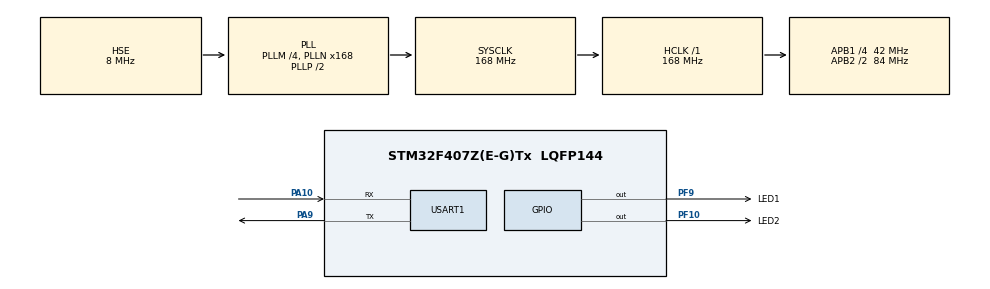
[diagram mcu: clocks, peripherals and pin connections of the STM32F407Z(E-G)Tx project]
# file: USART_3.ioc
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Mcu.Family=STM32F4
Mcu.Name=STM32F407Z(E-G)Tx
Mcu.Package=LQFP144
NVIC.PriorityGroup=NVIC_PRIORITYGROUP_4
NVIC.USART1_IRQn=true\:0\:0\:false\:false\:true\:true\:true\:true
PA10.Mode=Asynchronous
PA10.Signal=USART1_RX
PA13.Mode=Serial_Wire
PA13.Signal=SYS_JTMS-SWDIO
PA14.Mode=Serial_Wire
PA14.Signal=SYS_JTCK-SWCLK
PA9.Mode=Asynchronous
PA9.Signal=USART1_TX
PF10.GPIO_Label=LED2
PF10.PinState=GPIO_PIN_SET
PF10.Signal=GPIO_Output
PF9.GPIO_Label=LED1
PF9.PinState=GPIO_PIN_SET
PF9.Signal=GPIO_Output
PH0-OSC_IN.Mode=HSE-External-Oscillator
PH0-OSC_IN.Signal=RCC_OSC_IN
PH1-OSC_OUT.Mode=HSE-External-Oscillator
PH1-OSC_OUT.Signal=RCC_OSC_OUT
ProjectManager.HeapSize=0x200
ProjectManager.StackSize=0x400
ProjectManager.TargetToolchain=MDK-ARM V5.32
RCC.48MHZClocksFreq_Value=84000000
RCC.AHBFreq_Value=168000000
RCC.APB1CLKDivider=RCC_HCLK_DIV4
RCC.APB1Freq_Value=42000000
RCC.APB1TimFreq_Value=84000000
RCC.APB2CLKDivider=RCC_HCLK_DIV2
RCC.APB2Freq_Value=84000000
RCC.APB2TimFreq_Value=168000000
RCC.CortexFreq_Value=168000000
RCC.HCLKFreq_Value=168000000
RCC.HSE_VALUE=8000000
RCC.HSI_VALUE=16000000
RCC.LSE_VALUE=32768
RCC.PLLM=4
RCC.PLLN=168
RCC.PLLSourceVirtual=RCC_PLLSOURCE_HSE
RCC.SYSCLKFreq_VALUE=168000000
RCC.SYSCLKSource=RCC_SYSCLKSOURCE_PLLCLK
RCC.VCOOutputFreq_Value=336000000
USART1.VirtualMode=VM_ASYNC
board=custom

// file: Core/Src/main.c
/* USER CODE BEGIN Header */
/**
  ******************************************************************************
  * @file           : main.c
  * @brief          : Main program body
  ******************************************************************************
  * @attention
  *
  * Copyright (c) 2026 STMicroelectronics.
  * All rights reserved.
  *
  * This software is licensed under terms that can be found in the LICENSE file
  * in the root directory of this software component.
  * If no LICENSE file comes with this software, it is provided AS-IS.
  *
  ******************************************************************************
  */
/* USER CODE END Header */
#include "main.h"
#include "usart.h"
#include "gpio.h"

/* USER CODE BEGIN Includes */
#include <stdio.h>
#include <string.h>
/* USER CODE END Includes */

/* USER CODE BEGIN PV */
uint8_t RxBuf[3];
uint8_t times = 0;
/* USER CODE END PV */

void SystemClock_Config(void);

/* USER CODE BEGIN 0 */

int fputc(int ch,FILE *f)
{
    HAL_UART_Transmit(&huart1,(uint8_t*)&ch,1,HAL_MAX_DELAY);
    return ch;
}

/* USER CODE END 0 */

int main(void)
{

  /* MCU Configuration--------------------------------------------------------*/

  /* Reset of all peripherals, Initializes the Flash interface and the Systick. */
  HAL_Init();

  /* Configure the system clock */
  SystemClock_Config();

  /* Initialize all configured peripherals */
  MX_GPIO_Init();
  MX_USART1_UART_Init();
  /* USER CODE BEGIN 2 */
  HAL_UART_Receive_IT(&huart1,RxBuf,1);
    printf("串口控制LED灯\r\n");
  /* USER CODE END 2 */

  /* Infinite loop */
  while (1)
  {

  }
}

void SystemClock_Config(void)
{
  RCC_OscInitTypeDef RCC_OscInitStruct = {0};
  RCC_ClkInitTypeDef RCC_ClkInitStruct = {0};

  /** Configure the main internal regulator output voltage
  */
  __HAL_RCC_PWR_CLK_ENABLE();
  __HAL_PWR_VOLTAGESCALING_CONFIG(PWR_REGULATOR_VOLTAGE_SCALE1);

  /** Initializes the RCC Oscillators according to the specified parameters
  * in the RCC_OscInitTypeDef structure.
  */
  RCC_OscInitStruct.OscillatorType = RCC_OSCILLATORTYPE_HSE;
  RCC_OscInitStruct.HSEState = RCC_HSE_ON;
  RCC_OscInitStruct.PLL.PLLState = RCC_PLL_ON;
  RCC_OscInitStruct.PLL.PLLSource = RCC_PLLSOURCE_HSE;
  RCC_OscInitStruct.PLL.PLLM = 4;
  RCC_OscInitStruct.PLL.PLLN = 168;
  RCC_OscInitStruct.PLL.PLLP = RCC_PLLP_DIV2;
  RCC_OscInitStruct.PLL.PLLQ = 4;
  if (HAL_RCC_OscConfig(&RCC_OscInitStruct) != HAL_OK)
  {
    Error_Handler();
  }

  /** Initializes the CPU, AHB and APB buses clocks
  */
  RCC_ClkInitStruct.ClockType = RCC_CLOCKTYPE_HCLK|RCC_CLOCKTYPE_SYSCLK
                              |RCC_CLOCKTYPE_PCLK1|RCC_CLOCKTYPE_PCLK2;
  RCC_ClkInitStruct.SYSCLKSource = RCC_SYSCLKSOURCE_PLLCLK;
  RCC_ClkInitStruct.AHBCLKDivider = RCC_SYSCLK_DIV1;
  RCC_ClkInitStruct.APB1CLKDivider = RCC_HCLK_DIV4;
  RCC_ClkInitStruct.APB2CLKDivider = RCC_HCLK_DIV2;

  if (HAL_RCC_ClockConfig(&RCC_ClkInitStruct, FLASH_LATENCY_5) != HAL_OK)
  {
    Error_Handler();
  }
}

/* USER CODE BEGIN 4 */
void HAL_UART_RxCpltCallback(UART_HandleTypeDef *huart)
{
    times++;
    if(huart->Instance == USART1)
    {
        if(times == 2 && (strncmp((char*)RxBuf,"ON",2) == 0))
        {
            HAL_GPIO_WritePin(LED1_GPIO_Port,LED1_Pin,GPIO_PIN_RESET);
            printf("LED1已亮\r\n");
            memset(RxBuf,0,sizeof(RxBuf));
            times = 0;
        }
        else if(times == 3 && (strncmp((char*)RxBuf,"OFF",3) == 0))
        {
            HAL_GPIO_WritePin(LED1_GPIO_Port,LED1_Pin,GPIO_PIN_SET);
            printf("LED1已灭\r\n");
            memset(RxBuf,0,sizeof(RxBuf));
            times = 0;
        }
        else if(times == 3)
        {
            printf("请重新输入\r\n");
            times = 0;
        }
        HAL_UART_Receive_IT(&huart1,&RxBuf[times],1);
    }
}

/* USER CODE END 4 */

void Error_Handler(void)
{
  __disable_irq();
  while (1)
  {
  }
}
